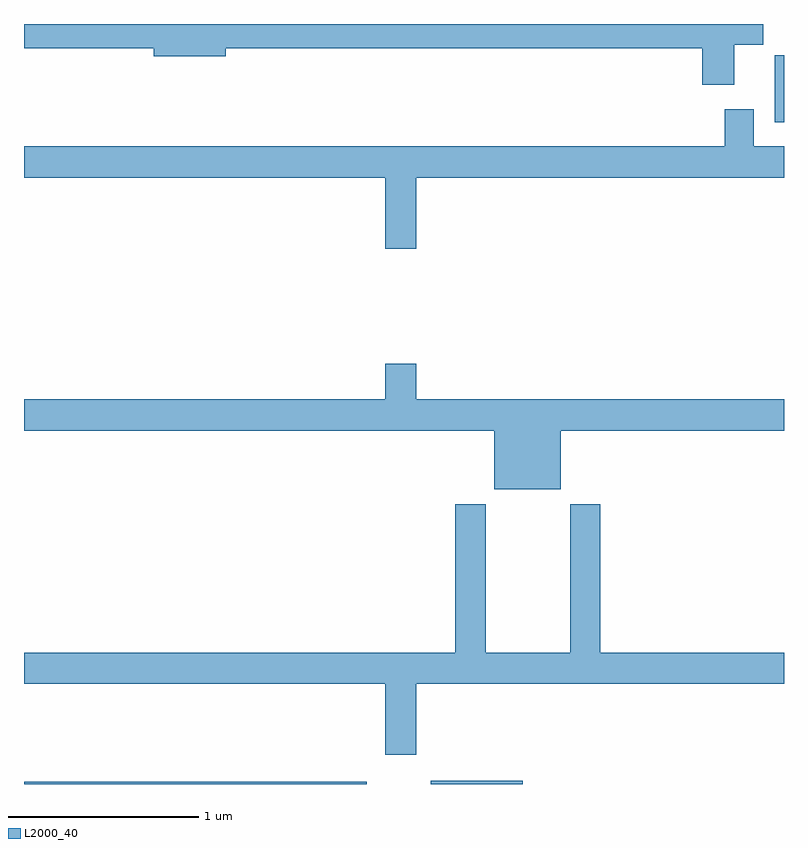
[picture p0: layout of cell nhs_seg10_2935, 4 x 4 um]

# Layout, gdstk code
import gdstk
lib = gdstk.Library(unit=1e-6, precision=1e-09)
def R(c, l, rs):  # rectangles x0, y0, x1, y1
    for r in rs: c.add(gdstk.rectangle(r[:2], r[2:], *l))
def P(c, l, *ps):  # polygons
    for p in ps: c.add(gdstk.Polygon(p, *l))
L2000_40 = (2000, 40)

nhs_seg10_2935 = lib.new_cell('nhs_seg10_2935')
R(nhs_seg10_2935, L2000_40, [(271,1254.5,272.804,1254.512), (273.14,1254.5,273.625,1254.518), (274.952,1257.984,275,1258.336)])
P(nhs_seg10_2935, L2000_40, [(274.738,1258.39),(274.891,1258.39),(274.891,1258.5),(271,1258.5),(271,1258.372),(271.682,1258.372),(271.682,1258.33),(272.062,1258.33),(272.062,1258.372),(274.571,1258.372),(274.571,1258.179),(274.738,1258.179)],
  [(271,1257.692),(272.9,1257.692),(272.9,1257.318),(273.064,1257.318),(273.064,1257.692),(275,1257.692),(275,1257.856),(274.84,1257.856),(274.84,1258.051),(274.688,1258.051),(274.688,1257.856),(271,1257.856)],
  [(273.826,1256.36),(275,1256.36),(275,1256.524),(273.064,1256.524),(273.064,1256.713),(272.9,1256.713),(272.9,1256.524),(271,1256.524),(271,1256.36),(273.476,1256.36),(273.476,1256.051),(273.826,1256.051)],
  [(273.064,1255.028),(275,1255.028),(275,1255.192),(274.034,1255.192),(274.034,1255.972),(273.874,1255.972),(273.874,1255.192),(273.429,1255.192),(273.429,1255.972),(273.269,1255.972),(273.269,1255.192),(271,1255.192),(271,1255.028),(272.9,1255.028),(272.9,1254.654),(273.064,1254.654)])

lib.write_gds('nhs_seg10_2935.gds')
